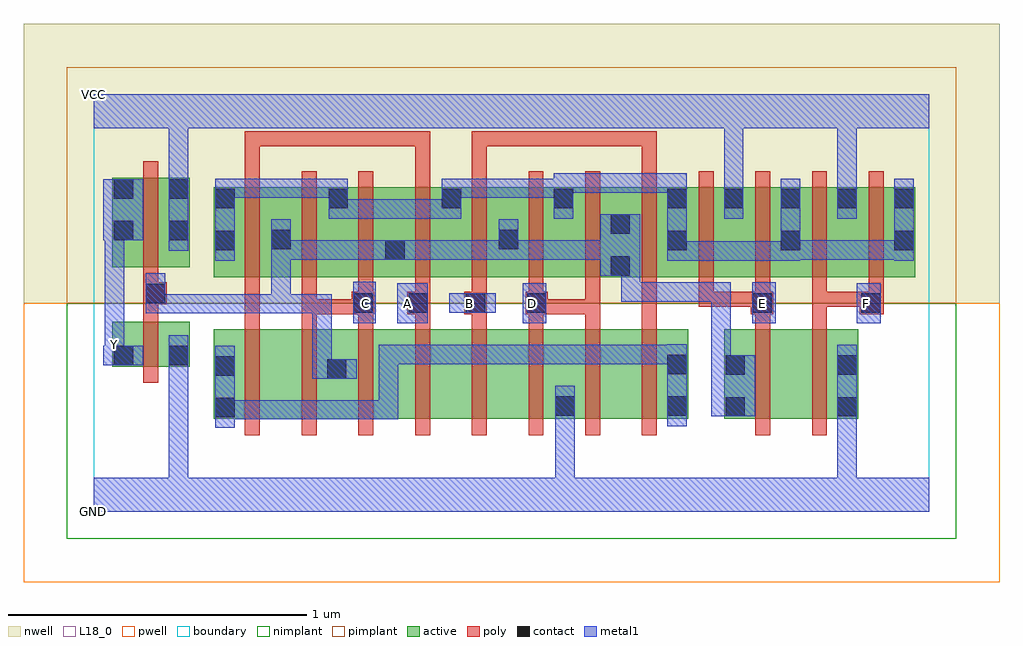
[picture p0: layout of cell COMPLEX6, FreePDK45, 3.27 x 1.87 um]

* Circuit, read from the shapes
.subckt COMPLEX6 A B C D E F GND VCC Y
M1 GND n1 Y VSUBS nfet w=0.15u l=0.05u
M2 n2 A n3 VSUBS nfet w=0.3u l=0.05u
M3 n1 C n2 VSUBS nfet w=0.3u l=0.05u
M4 n4 C n1 VSUBS nfet w=0.3u l=0.05u
M5 n5 A n4 VSUBS nfet w=0.3u l=0.05u
M6 n6 B n5 VSUBS nfet w=0.3u l=0.05u
M7 GND D n6 VSUBS nfet w=0.3u l=0.05u
M8 n7 D GND VSUBS nfet w=0.3u l=0.05u
M9 n3 B n7 VSUBS nfet w=0.3u l=0.05u
M10 n8 E n1 VSUBS nfet w=0.3u l=0.05u
M11 GND F n8 VSUBS nfet w=0.3u l=0.05u
M12 VCC n1 Y n9 pfet w=0.3u l=0.05u
M13 n1 A n10 n9 pfet w=0.3u l=0.05u m=2
M14 n10 C n1 n9 pfet w=0.3u l=0.05u m=2
M15 n1 B n10 n9 pfet w=0.3u l=0.05u m=2
M16 n10 D n1 n9 pfet w=0.3u l=0.05u m=2
M17 VCC E n10 n9 pfet w=0.3u l=0.05u m=2
M18 VCC F n10 n9 pfet w=0.3u l=0.05u m=2
.ends

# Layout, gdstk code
import gdstk
lib = gdstk.Library(unit=1e-6, precision=1e-09)
def R(c, l, rs):  # rectangles x0, y0, x1, y1
    for r in rs: c.add(gdstk.rectangle(r[:2], r[2:], *l))
def A(c, l, x, y, w, h, nx, ny, dx, dy):  # array of equal rectangles
    R(c, l, [(x+i*dx, y+j*dy, x+i*dx+w, y+j*dy+h) for i in range(nx) for j in range(ny)])
active = (1, 0)
pwell = (2, 0)
nwell = (3, 0)
nimplant = (4, 0)
pimplant = (5, 0)
poly = (9, 0)
contact = (10, 0)
metal1 = (11, 0)
L18_0 = (18, 0)
boundary = (235, 0)

complex6 = lib.new_cell('COMPLEX6')
A(complex6, active, 0.782, 0.787, 0.265, 0.3, 3, 1, 0.19, 0)
A(complex6, active, 1.537, 0.787, 0.265, 0.3, 6, 1, 0.19, 0)
R(complex6, active, [(0.402,0.312,0.627,0.612), (0.402,0.312,0.477,0.612), (0.627,0.312,0.852,0.612), (0.777,0.312,1.007,0.612), (1.007,0.312,1.197,0.612), (1.197,0.312,1.387,0.612), (1.387,0.312,1.617,0.612), (1.542,0.312,1.767,0.612), (1.542,0.312,1.617,0.572), (1.767,0.312,1.992,0.612), (1.917,0.312,1.992,0.612), (2.112,0.312,2.337,0.612), (2.337,0.312,2.562,0.612), (2.112,0.315,2.187,0.612), (2.487,0.315,2.562,0.612), (0.777,0.345,0.852,0.517), (0.062,0.487,0.137,0.637), (0.062,0.487,0.322,0.637), (0.247,0.487,0.322,0.637), (0.402,0.787,0.477,1.087), (0.402,0.787,0.665,1.087), (0.59,0.787,0.857,1.087), (1.352,0.787,1.612,1.087), (1.727,0.787,1.802,1.055), (2.677,0.787,2.752,1.087), (0.062,0.82,0.137,1.12), (0.062,0.82,0.322,1.12), (0.247,0.82,0.322,1.12), (0.972,0.84,1.047,1.055), (1.917,0.872,1.992,1.087), (2.297,0.872,2.372,1.087), (0.59,0.875,0.665,1.055), (1.352,0.875,1.427,1.055), (0.782,0.882,0.857,1.087), (1.162,0.882,1.237,1.087), (1.537,0.882,1.612,1.087), (2.107,0.882,2.182,1.087), (2.487,0.882,2.562,1.087)])
R(complex6, pwell, [(-0.235,-0.235,3.035,0.7)])
R(complex6, nwell, [(-0.235,0.7,3.035,1.635)])
R(complex6, nimplant, [(-0.09,-0.09,2.89,0.7)])
R(complex6, pimplant, [(-0.09,0.7,2.89,1.49)])
A(complex6, poly, 0.507, 0.257, 0.05, 0.41, 8, 1, 0.19, 0)
A(complex6, poly, 0.507, 0.617, 0.05, 0.095, 8, 1, 0.19, 0)
A(complex6, poly, 0.887, 0.687, 0.05, 0.095, 4, 1, 0.19, 0)
A(complex6, poly, 2.027, 0.687, 0.05, 0.095, 4, 1, 0.19, 0)
A(complex6, poly, 0.507, 0.732, 0.05, 0.41, 12, 1, 0.19, 0)
R(complex6, poly, [(2.217,0.257,2.267,0.667), (2.407,0.257,2.457,0.667), (0.167,0.432,0.217,0.692), (2.217,0.617,2.267,0.712), (2.407,0.617,2.457,0.737), (0.167,0.642,0.217,0.745), (0.507,0.662,0.557,0.712), (0.507,0.662,0.557,0.782), (0.697,0.662,0.747,0.712), (0.697,0.662,0.747,0.712), (0.697,0.662,0.747,0.712), (0.697,0.662,0.747,0.782), (0.697,0.662,0.915,0.712), (0.865,0.662,0.94,0.737), (1.05,0.662,1.127,0.737), (1.242,0.662,1.317,0.737), (1.447,0.662,1.522,0.737), (1.472,0.662,1.697,0.712), (1.647,0.662,1.697,0.712), (1.647,0.662,1.697,0.712), (1.647,0.662,1.697,0.712), (1.647,0.662,1.697,0.782), (1.837,0.662,1.887,0.712), (1.837,0.662,1.887,0.782), (2.202,0.662,2.277,0.737), (2.567,0.662,2.647,0.737), (2.027,0.687,2.077,0.737), (2.027,0.687,2.077,0.737), (2.027,0.687,2.077,0.737), (2.027,0.687,2.252,0.737), (2.407,0.687,2.617,0.737), (2.407,0.687,2.457,0.737), (2.407,0.687,2.457,0.737), (2.407,0.687,2.457,0.737), (0.167,0.695,0.245,0.77), (0.167,0.72,0.217,0.815), (0.167,0.765,0.217,1.175), (0.507,1.092,0.557,1.275), (1.077,1.092,1.127,1.275), (1.267,1.092,1.317,1.275), (1.837,1.092,1.887,1.275), (0.507,1.225,0.557,1.275), (0.507,1.225,0.557,1.275), (0.507,1.225,0.557,1.275), (0.507,1.225,0.747,1.275), (0.697,1.225,0.747,1.275), (0.697,1.225,0.747,1.275), (0.697,1.225,0.747,1.275), (0.697,1.225,0.88,1.275), (0.83,1.225,0.88,1.275), (0.83,1.225,1.127,1.275), (1.077,1.225,1.127,1.275), (1.077,1.225,1.127,1.275), (1.077,1.225,1.127,1.275), (1.267,1.225,1.317,1.275), (1.267,1.225,1.565,1.275), (1.515,1.225,1.565,1.275), (1.515,1.225,1.565,1.275), (1.515,1.225,1.565,1.275), (1.515,1.225,1.755,1.275), (1.705,1.225,1.755,1.275), (1.705,1.225,1.755,1.275), (1.705,1.225,1.755,1.275), (1.705,1.225,1.887,1.275), (1.837,1.225,1.887,1.275), (1.837,1.225,1.887,1.275), (1.837,1.225,1.887,1.275)])
A(complex6, contact, 1.922, 0.877, 0.065, 0.065, 3, 1, 0.38, 0)
A(complex6, contact, 0.407, 1.017, 0.065, 0.065, 3, 1, 0.38, 0)
A(complex6, contact, 1.922, 1.017, 0.065, 0.065, 5, 1, 0.19, 0)
R(complex6, contact, [(0.407,0.317,0.472,0.382), (2.117,0.32,2.182,0.385), (2.492,0.32,2.557,0.385), (1.547,0.322,1.612,0.387), (1.922,0.322,1.987,0.387), (0.782,0.447,0.847,0.512), (0.407,0.457,0.472,0.522), (2.117,0.46,2.182,0.525), (2.492,0.46,2.557,0.525), (1.922,0.462,1.987,0.527), (0.067,0.492,0.132,0.557), (0.252,0.492,0.317,0.557), (0.87,0.667,0.935,0.732), (1.055,0.667,1.12,0.732), (1.247,0.667,1.312,0.732), (1.452,0.667,1.517,0.732), (2.207,0.667,2.272,0.732), (2.572,0.667,2.637,0.732), (0.175,0.7,0.24,0.765), (1.732,0.792,1.797,0.857), (0.977,0.845,1.042,0.91), (0.407,0.877,0.472,0.942), (0.595,0.88,0.66,0.945), (1.357,0.88,1.422,0.945), (0.067,0.91,0.132,0.975), (0.252,0.91,0.317,0.975), (1.732,0.932,1.797,0.997), (1.542,1.017,1.607,1.082), (0.067,1.05,0.132,1.115), (0.252,1.05,0.317,1.115)])
A(complex6, metal1, 1.922, 0.842, 0.065, 0.275, 3, 1, 0.38, 0)
R(complex6, metal1, [(0,0,2.8,0.115), (0.252,0.05,0.317,0.115), (0.252,0.05,0.317,0.115), (0.252,0.05,0.317,0.115), (0.252,0.05,0.317,0.115), (0.252,0.05,0.317,0.115), (0.252,0.05,0.317,0.115), (0.252,0.05,0.317,0.522), (1.547,0.05,1.612,0.352), (2.492,0.05,2.557,0.115), (2.492,0.05,2.557,0.115), (2.492,0.05,2.557,0.115), (2.492,0.05,2.557,0.115), (2.492,0.05,2.557,0.35), (0.407,0.282,0.472,0.557), (2.492,0.285,2.557,0.56), (1.547,0.287,1.612,0.352), (1.547,0.287,1.612,0.352), (1.547,0.287,1.612,0.352), (1.547,0.287,1.612,0.352), (1.547,0.287,1.612,0.422), (1.922,0.287,1.987,0.562), (0.407,0.31,0.472,0.375), (0.407,0.31,0.472,0.375), (0.407,0.31,0.66,0.375), (0.595,0.31,0.66,0.375), (0.595,0.31,0.66,0.375), (0.595,0.31,0.66,0.375), (0.595,0.31,0.66,0.375), (0.595,0.31,0.66,0.375), (0.595,0.31,0.87,0.375), (0.805,0.31,0.87,0.375), (0.805,0.31,0.87,0.375), (0.805,0.31,0.87,0.375), (0.805,0.31,1.02,0.375), (0.955,0.31,1.02,0.375), (0.955,0.31,1.02,0.56), (2.07,0.32,2.217,0.525), (0.732,0.447,0.797,0.73), (0.732,0.447,0.882,0.512), (0.252,0.457,0.317,0.592), (2.07,0.46,2.135,0.77), (0.032,0.492,0.167,0.557), (0.037,0.492,0.102,0.557), (0.037,0.492,0.102,0.627), (0.955,0.495,1.02,0.56), (0.955,0.495,1.02,0.56), (0.955,0.495,1.02,0.56), (0.955,0.495,1.215,0.56), (1.15,0.495,1.215,0.56), (1.15,0.495,1.215,0.56), (1.15,0.495,1.215,0.56), (1.15,0.495,1.47,0.56), (1.405,0.495,1.47,0.56), (1.405,0.495,1.47,0.56), (1.405,0.495,1.47,0.56), (1.405,0.495,1.625,0.56), (1.56,0.495,1.625,0.56), (1.56,0.495,1.625,0.56), (1.56,0.495,1.625,0.56), (1.56,0.495,1.762,0.56), (1.697,0.495,1.762,0.56), (1.697,0.495,1.762,0.56), (1.697,0.495,1.762,0.56), (1.697,0.495,1.987,0.56), (0.037,0.562,0.102,0.975), (0.87,0.632,0.945,0.772), (1.017,0.632,1.12,0.767), (1.437,0.632,1.517,0.767), (2.207,0.632,2.285,0.77), (2.557,0.632,2.637,0.767), (0.175,0.665,0.24,0.73), (0.175,0.665,0.24,0.73), (0.175,0.665,0.377,0.73), (0.175,0.665,0.24,0.8), (0.312,0.665,0.377,0.73), (0.312,0.665,0.377,0.73), (0.312,0.665,0.377,0.73), (0.312,0.665,0.66,0.73), (0.595,0.665,0.66,0.73), (0.595,0.665,0.66,0.73), (0.595,0.665,0.66,0.73), (0.595,0.665,0.797,0.73), (0.595,0.665,0.66,0.91), (0.732,0.665,0.797,0.73), (1.192,0.667,1.347,0.732), (1.767,0.705,1.997,0.77), (1.767,0.705,1.832,0.857), (1.932,0.705,1.997,0.77), (1.932,0.705,1.997,0.77), (1.932,0.705,1.997,0.77), (1.932,0.705,2.135,0.77), (2.07,0.705,2.135,0.77), (2.07,0.705,2.135,0.77), (2.07,0.705,2.135,0.77), (1.697,0.792,1.832,0.997), (1.767,0.792,1.832,0.857), (0.407,0.842,0.472,1.117), (1.922,0.842,2.135,0.907), (2.07,0.842,2.135,0.907), (2.07,0.842,2.135,0.907), (2.07,0.842,2.135,0.907), (2.07,0.842,2.135,0.907), (2.07,0.842,2.135,0.907), (2.07,0.842,2.347,0.907), (2.282,0.842,2.347,0.907), (2.282,0.842,2.367,0.907), (0.595,0.845,0.66,0.91), (0.595,0.845,0.66,0.91), (0.595,0.845,0.797,0.91), (0.595,0.845,0.66,0.98), (0.732,0.845,0.797,0.91), (0.732,0.845,0.797,0.91), (0.732,0.845,0.797,0.91), (0.732,0.845,1.007,0.91), (0.942,0.845,1.077,0.91), (1.012,0.845,1.077,0.91), (1.012,0.845,1.077,0.91), (1.012,0.845,1.285,0.91), (1.22,0.845,1.285,0.91), (1.22,0.845,1.285,0.91), (1.22,0.845,1.285,0.91), (1.22,0.845,1.422,0.91), (1.357,0.845,1.422,0.91), (1.357,0.845,1.422,0.91), (1.357,0.845,1.422,0.98), (1.357,0.845,1.625,0.91), (1.56,0.845,1.625,0.91), (1.56,0.845,1.625,0.91), (1.56,0.845,1.625,0.91), (1.56,0.845,1.762,0.91), (2.302,0.845,2.485,0.91), (2.42,0.845,2.485,0.91), (2.42,0.845,2.61,0.91), (2.545,0.845,2.61,0.91), (2.545,0.845,2.747,0.91), (2.682,0.845,2.747,0.91), (2.682,0.845,2.747,0.91), (0.252,0.875,0.317,1.15), (0.032,0.91,0.167,1.115), (0.787,0.982,0.852,1.047), (0.787,0.982,0.852,1.047), (0.787,0.982,0.852,1.117), (0.787,0.982,1.02,1.047), (0.955,0.982,1.02,1.047), (0.955,0.982,1.02,1.047), (0.955,0.982,1.02,1.047), (0.955,0.982,1.232,1.047), (1.167,0.982,1.232,1.117), (1.542,0.982,1.607,1.117), (2.112,0.982,2.177,1.117), (2.492,0.982,2.557,1.117), (0.407,1.052,0.472,1.117), (0.407,1.052,0.472,1.117), (0.407,1.052,0.61,1.117), (0.545,1.052,0.61,1.117), (0.545,1.052,0.61,1.117), (0.545,1.052,0.61,1.117), (0.545,1.052,0.852,1.117), (1.167,1.052,1.232,1.117), (1.167,1.052,1.232,1.117), (1.167,1.052,1.47,1.117), (1.405,1.052,1.47,1.117), (1.405,1.052,1.47,1.117), (1.405,1.052,1.47,1.117), (1.405,1.052,1.607,1.117), (1.542,1.052,1.607,1.117), (1.542,1.052,1.607,1.135), (1.922,1.052,1.987,1.117), (1.922,1.052,1.987,1.135), (2.112,1.052,2.177,1.117), (2.112,1.052,2.177,1.117), (2.112,1.052,2.177,1.35), (2.492,1.052,2.557,1.117), (2.492,1.052,2.557,1.117), (2.492,1.052,2.557,1.35), (1.542,1.07,1.762,1.135), (1.697,1.07,1.762,1.135), (1.697,1.07,1.987,1.135), (0.252,1.085,0.317,1.15), (0.252,1.085,0.317,1.15), (0.252,1.085,0.317,1.35), (0,1.285,2.8,1.4)])
A(complex6, L18_0, 1.017, 0.667, 0.065, 0.065, 3, 1, 0.21, 0)
R(complex6, L18_0, [(0,0,2.8,0.115), (0.252,0.05,0.317,0.115), (0.252,0.05,0.317,0.115), (0.252,0.05,0.317,0.115), (0.252,0.05,0.317,0.115), (0.252,0.05,0.317,0.115), (0.252,0.05,0.317,0.115), (0.252,0.05,0.317,0.522), (1.547,0.05,1.612,0.352), (2.492,0.05,2.557,0.115), (2.492,0.05,2.557,0.115), (2.492,0.05,2.557,0.115), (2.492,0.05,2.557,0.115), (2.492,0.05,2.557,0.35), (2.492,0.285,2.557,0.56), (1.547,0.287,1.612,0.422), (1.547,0.287,1.612,0.352), (1.547,0.287,1.612,0.352), (1.547,0.287,1.612,0.352), (1.547,0.287,1.612,0.352), (0.252,0.457,0.317,0.592), (0.032,0.492,0.167,0.557), (0.037,0.492,0.102,0.627), (0.037,0.492,0.102,0.557), (0.037,0.527,0.102,0.592), (0.037,0.562,0.102,0.975), (0.87,0.632,0.945,0.772), (1.017,0.632,1.12,0.767), (1.437,0.632,1.517,0.767), (2.207,0.632,2.285,0.77), (2.557,0.632,2.637,0.767), (0.877,0.667,0.942,0.732), (1.192,0.667,1.347,0.732), (2.207,0.667,2.272,0.732), (2.557,0.667,2.622,0.732), (0.252,0.875,0.317,1.15), (0.032,0.91,0.167,1.115), (2.112,0.982,2.177,1.117), (2.492,0.982,2.557,1.117), (2.112,1.052,2.177,1.117), (2.112,1.052,2.177,1.117), (2.112,1.052,2.177,1.35), (2.492,1.052,2.557,1.117), (2.492,1.052,2.557,1.117), (2.492,1.052,2.557,1.35), (0.252,1.085,0.317,1.15), (0.252,1.085,0.317,1.15), (0.252,1.085,0.317,1.35), (0,1.285,2.8,1.4)])
R(complex6, boundary, [(0,0,2.8,1.4)])
complex6.add(gdstk.Label('A', (1.05,0.7), layer=11, texttype=0))
complex6.add(gdstk.Label('B', (1.26,0.7), layer=11, texttype=0))
complex6.add(gdstk.Label('C', (0.91,0.7), layer=11, texttype=0))
complex6.add(gdstk.Label('D', (1.47,0.7), layer=11, texttype=0))
complex6.add(gdstk.Label('E', (2.24,0.7), layer=11, texttype=0))
complex6.add(gdstk.Label('F', (2.59,0.7), layer=11, texttype=0))
complex6.add(gdstk.Label('Y', (0.07,0.56), layer=11, texttype=0))
complex6.add(gdstk.Label('VCC', (0,1.4), layer=11, texttype=0))
complex6.add(gdstk.Label('GND', (0,0), layer=11, texttype=0))

lib.write_gds('COMPLEX6.gds')
